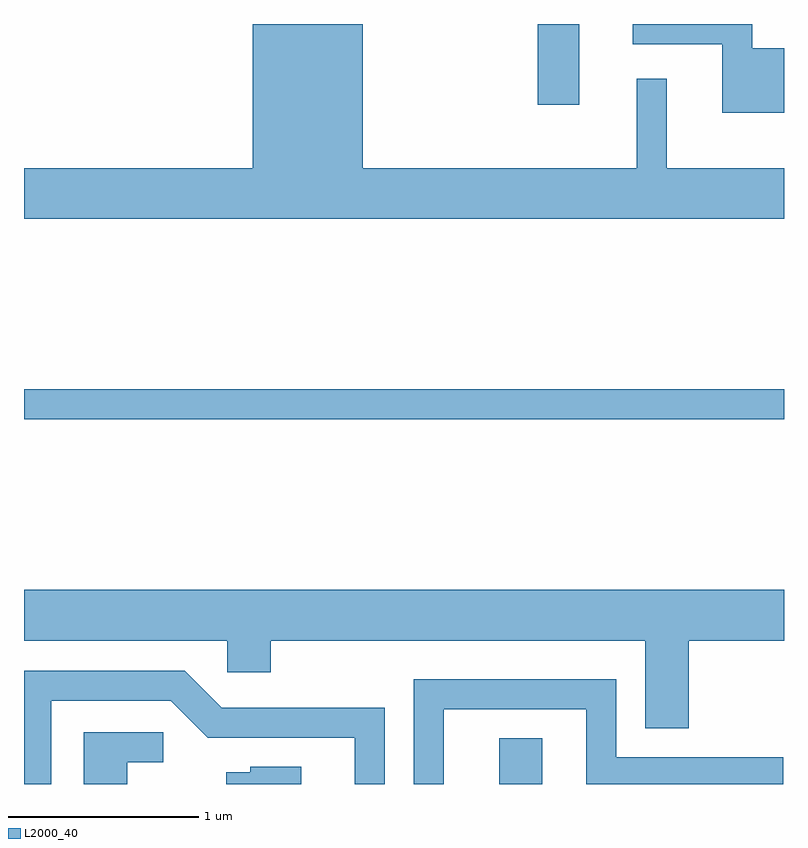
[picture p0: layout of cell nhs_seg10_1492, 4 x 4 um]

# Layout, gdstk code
import gdstk
lib = gdstk.Library(unit=1e-6, precision=1e-09)
def R(c, l, rs):  # rectangles x0, y0, x1, y1
    for r in rs: c.add(gdstk.rectangle(r[:2], r[2:], *l))
def P(c, l, *ps):  # polygons
    for p in ps: c.add(gdstk.Polygon(p, *l))
L2000_40 = (2000, 40)

nhs_seg10_1492 = lib.new_cell('nhs_seg10_1492')
R(nhs_seg10_1492, L2000_40, [(232.111,2086.522,232.339,2086.764), (229.611,2088.441,233.611,2088.599), (232.316,2090.096,232.534,2090.522)])
P(nhs_seg10_1492, L2000_40, [(233.611,2089.764),(232.994,2089.764),(232.994,2090.233),(232.836,2090.233),(232.836,2089.764),(231.394,2089.764),(231.394,2090.522),(230.816,2090.522),(230.816,2089.764),(229.611,2089.764),(229.611,2089.496),(233.611,2089.496)],
  [(233.611,2090.394),(233.444,2090.394),(233.444,2090.522),(232.816,2090.522),(232.816,2090.416),(233.286,2090.416),(233.286,2090.056),(233.611,2090.056)],
  [(233.109,2087.276),(233.611,2087.276),(233.611,2087.544),(229.611,2087.544),(229.611,2087.276),(230.681,2087.276),(230.681,2087.111),(230.909,2087.111),(230.909,2087.276),(232.881,2087.276),(232.881,2086.816),(233.109,2086.816)],
  [(229.754,2086.961),(230.384,2086.961),(230.579,2086.766),(231.351,2086.766),(231.351,2086.522),(231.509,2086.522),(231.509,2086.924),(230.652,2086.924),(230.457,2087.119),(229.611,2087.119),(229.611,2086.522),(229.754,2086.522)],
  [(231.819,2086.916),(232.571,2086.916),(232.571,2086.522),(233.608,2086.522),(233.608,2086.664),(232.729,2086.664),(232.729,2087.074),(231.661,2087.074),(231.661,2086.522),(231.819,2086.522)],
  [(230.154,2086.636),(230.343,2086.636),(230.343,2086.794),(229.926,2086.794),(229.926,2086.522),(230.154,2086.522)],
  [(231.069,2086.614),(230.801,2086.614),(230.801,2086.584),(230.676,2086.584),(230.676,2086.522),(231.069,2086.522)])

lib.write_gds('nhs_seg10_1492.gds')
